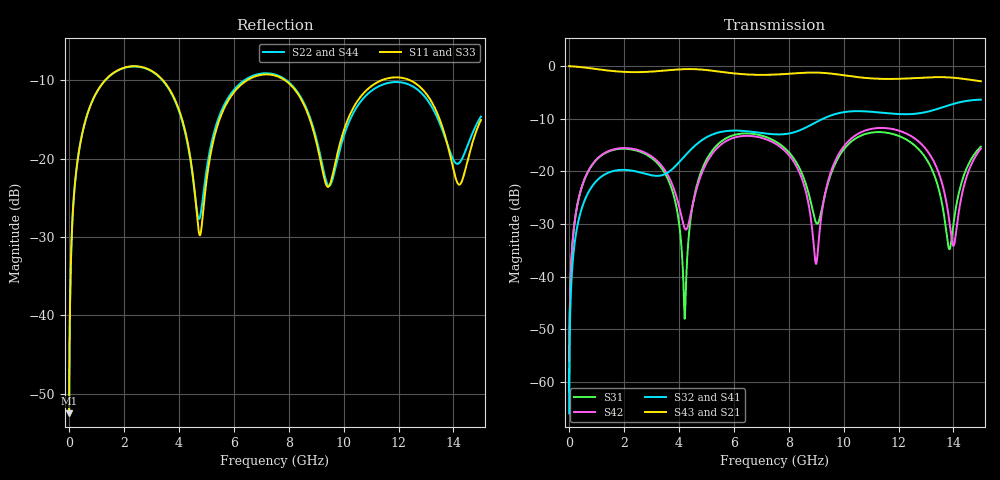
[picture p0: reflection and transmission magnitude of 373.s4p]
! Created with skrf 1.8.0 (http://scikit-rf.org).
# GHz S RI R 50.0
!freq ReS11 ImS11 ReS12 ImS12 ReS13 ImS13
! ReS14 ImS14
! ReS21 ImS21 ReS22 ImS22 ReS23 ImS23
! ReS24 ImS24
! ReS31 ImS31 ReS32 ImS32 ReS33 ImS33
! ReS34 ImS34
! ReS41 ImS41 ReS42 ImS42 ReS43 ImS43
! ReS44 ImS44
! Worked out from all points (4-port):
!   2499 points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, 5 MHz to 15 GHz, reference 50 ohm
!   strongest paths, dB at 5 MHz, 3.476 GHz, 7.19 GHz, 11.1 GHz, 15 GHz:
!     S43: 0.0, -0.9, -1.7, -2.4, -2.9
!     S21: 0.0, -0.9, -1.7, -2.4, -2.9
!     S32: -65.9, -20.6, -12.8, -8.7, -6.4
!     S41: -65.9, -20.6, -12.9, -8.7, -6.4
!     S42: -61.8, -19.6, -13.9, -11.8, -15.7
!     S31: -61.8, -20.2, -13.5, -12.6, -15.3
!   lowest |S11| = -52.5 dB at 5 MHz (marker M1), VSWR 1.00, Z = 50.2 + j0.143 ohm
!   |S11| at or under -10 dB: 3.425 GHz to 6.477 GHz (3.051 GHz wide, 61.6 % of centre); 7.877 GHz to 11.37 GHz (3.494 GHz wide, 36.3 % of centre); 12.43 GHz to end of sweep (the widest 3 of 4)
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0.005  0.00189 0.00142  0.9981 -0.00367  9.75e-05 0.000806  -9.44e-05 -0.000496
       0.9981 -0.00367  0.00189 0.00142  -9.44e-05 -0.000496  9.76e-05 0.000806
       9.75e-05 0.000806  -9.44e-05 -0.000496  0.00189 0.00142  0.9981 -0.00367
       -9.44e-05 -0.000496  9.76e-05 0.000806  0.9981 -0.00367  0.00189 0.00142
0.3126303  0.0306 0.0924  0.9581 -0.2269  0.015 0.047  -0.0125 -0.0283
           0.9581 -0.2269  0.0305 0.0924  -0.0125 -0.0283  0.0154 0.0469
           0.015 0.047  -0.0125 -0.0283  0.0306 0.0924  0.9581 -0.2269
           -0.0125 -0.0283  0.0154 0.0469  0.9581 -0.2269  0.0305 0.0924
1.369321  0.2743 0.1729  0.5388 -0.7336  0.1358 0.0677  -0.0954 -0.00439
          0.5388 -0.7336  0.2729 0.1738  -0.0955 -0.0043  0.1397 0.0621
          0.1358 0.0677  -0.0955 -0.0043  0.2742 0.1729  0.5389 -0.7336
          -0.0954 -0.00439  0.1397 0.0621  0.5389 -0.7336  0.2728 0.1737
4.214256  0.0773 -0.1339  -0.8431 -0.4044  0.0039 0.000817  -0.0569 0.1278
          -0.8431 -0.4044  0.0832 -0.1256  -0.0557 0.1284  -0.025 -0.0145
          0.0039 0.000817  -0.0557 0.1284  0.0771 -0.1321  -0.8435 -0.4043
          -0.0569 0.1278  -0.025 -0.0145  -0.8435 -0.4043  0.0818 -0.1243
5.489787  0.1246 0.1292  -0.8039 0.3706  0.1362 0.1289  0.1322 0.195
          -0.8039 0.3706  0.1378 0.1315  0.1341 0.194  0.1077 0.1388
          0.1362 0.1289  0.1341 0.194  0.1256 0.1302  -0.8037 0.3704
          0.1322 0.195  0.1077 0.1388  -0.8037 0.3704  0.138 0.1337
9.578991  0.0714 0.0255  0.8403 0.1022  0.00163 0.1006  0.0314 -0.3413
          0.8403 0.1022  0.0705 0.0149  0.0256 -0.3418  0.0253 0.1032
          0.00163 0.1006  0.0256 -0.3418  0.0711 0.0269  0.8401 0.1051
          0.0314 -0.3413  0.0253 0.1032  0.8401 0.1051  0.0703 0.0178
15  0.1438 0.1027  -0.7038 0.1351  0.1227 0.1203  0.1268 0.4631
    -0.7038 0.1351  0.1634 0.0883  0.1399 0.4594  0.1319 0.0987
    0.1227 0.1203  0.1399 0.4594  0.1449 0.101  -0.7067 0.123
    0.1268 0.4631  0.1319 0.0987  -0.7067 0.123  0.1589 0.0934
